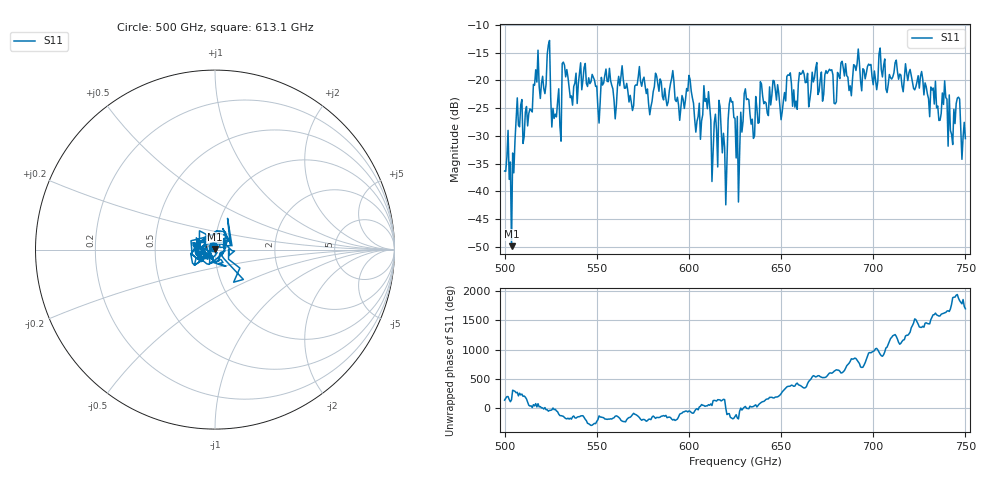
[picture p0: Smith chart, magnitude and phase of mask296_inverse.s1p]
!Created with skrf (http://scikit-rf.org).
# GHz S MA R 50.0
!freq magS11 angS11
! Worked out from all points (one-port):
!   401 points, 500 GHz to 750 GHz, reference 50 ohm
!   lowest |S11| = -49.9 dB at 503.8 GHz (marker M1), VSWR 1.01, Z = 49.8 + j0.222 ohm
!   |S11| at or under -10 dB: start of sweep to end of sweep
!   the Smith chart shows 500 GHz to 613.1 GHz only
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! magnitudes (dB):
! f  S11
! 500 GHz  -36.3
! 503.8 GHz  -49.9
! 507.5 GHz  -28.1
! 513.8 GHz  -25.1
! 516.9 GHz  -18.1
! 523.8 GHz  -13.6
! 526.9 GHz  -26.8
! 531.2 GHz  -16.9
! 532.5 GHz  -17.3
! 550.6 GHz  -25.0
! 562.5 GHz  -20.9
! 593.8 GHz  -23.0
! 600 GHz  -19.1
! 605 GHz  -26.5
! 609.4 GHz  -23.3
! 612.5 GHz  -38.2
! 617.5 GHz  -28.8
! 619.4 GHz  -32.0
! 622.5 GHz  -23.1
! 625 GHz  -26.8
! 626.2 GHz  -26.5
! 631.2 GHz  -23.5
! 634.4 GHz  -27.0
! 640 GHz  -22.8
! 656.2 GHz  -24.6
! 687.5 GHz  -21.0
! 718.8 GHz  -20.0
! 750 GHz  -30.5
